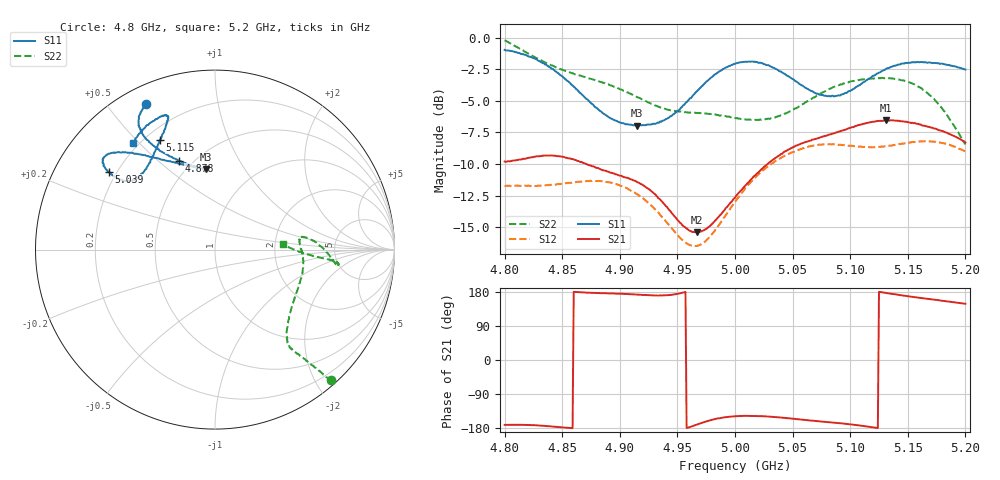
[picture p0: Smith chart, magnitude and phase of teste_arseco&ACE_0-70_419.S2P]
! Network Analyzer HP8722D
! Hewlett-Packard
! Data name: Linha & Wilkinson
! Saver's name: Rodrigo Anjos
! Comments: Teste da utilização de aquisição
! continua pelo VNA HP8722D
! Time and date: 8/5/2025 16:15
!  Frequency  S11  S21  S12  S22
# HZ  S  MA R 50
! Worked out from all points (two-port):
!   401 points, 4.8 GHz to 5.2 GHz, reference 50 ohm
!   highest |S21| = -6.52 dB at 5.131 GHz (marker M1); lowest = -15.4 dB at 4.967 GHz (marker M2)
!   |S21| within 3 dB of the highest: 4.82 GHz to 4.854 GHz (34.09 MHz wide, 0.705 % of centre); 5.035 GHz to end of sweep
!   lowest |S11| = -6.9 dB at 4.915 GHz (marker M3), VSWR 2.63, Z = 30.7 + j34.4 ohm
!   |S11| at or under -10 dB: nowhere
!   |S22| runs from -8.5 to -0.2 dB; largest |S21 - S12| = 0.83
!   S11 on the Smith chart (normalised r, x): 4.8 GHz: 0.08, +0.63; 4.878 GHz: 0.42, +0.59; 5.039 GHz: 0.17, +0.32; 5.115 GHz: 0.26, +0.59; 5.2 GHz: 0.18, +0.48
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4.8e9  0.8951 115.3  0.3237 -171.2  0.259 -86.5  0.9751 -48.4
4.83e9  0.8089 121.5  0.3396 -172.9  0.2596 -78.9  0.8195 -50.3
4.845e9  0.7325 122.0  0.3401 -176.4  0.2627 -73.9  0.762 -51.2
4.867e9  0.5961 117.0  0.3223 178.4  0.2697 -68.5  0.7049 -52.3
4.878e9  0.5344 112.2  0.3084 177.1  0.2711 -67.3  0.6808 -52.5
4.899e9  0.4639 100.6  0.2856 174.9  0.2619 -68.2  0.63 -50.5
4.915e9  0.4494 96.2  0.2685 172.5  0.2405 -70.0  0.5828 -46.1
4.934e9  0.461 100.6  0.2309 170.1  0.2023 -70.4  0.532 -36.2
4.955e9  0.5398 115.4  0.1801 178.0  0.1574 -60.6  0.5087 -22.5
4.967e9  0.6142 123.5  0.17 -170.2  0.15 -47.3  0.5035 -15.4
4.979e9  0.6938 129.6  0.1813 -158.5  0.165 -34.1  0.4988 -9.3
5e9  0.7888 137.0  0.2329 -148.6  0.2243 -22.0  0.4815 -0.2
5.018e9  0.801 141.3  0.2866 -147.5  0.2813 -19.7  0.4732 5.6
5.039e9  0.7346 143.8  0.3434 -151.6  0.3329 -20.1  0.4908 8.3
5.067e9  0.6142 141.5  0.3949 -159.9  0.3736 -22.5  0.5758 3.0
5.088e9  0.5879 132.2  0.4223 -166.0  0.3774 -25.7  0.6436 -3.6
5.115e9  0.6833 116.7  0.4603 -175.7  0.3687 -28.5  0.6877 -7.2
5.131e9  0.7527 111.0  0.4721 176.9  0.3721 -30.2  0.6922 -6.8
5.134e9  0.7596 110.4  0.4694 175.6  0.3739 -30.6  0.6916 -6.5
5.161e9  0.8011 112.0  0.4541 163.8  0.3889 -37.2  0.6344 -4.9
5.18e9  0.7895 118.9  0.4274 156.5  0.3831 -43.2  0.5229 -3.1
5.2e9  0.7482 127.6  0.3852 148.4  0.3543 -48.7  0.3777 4.4
